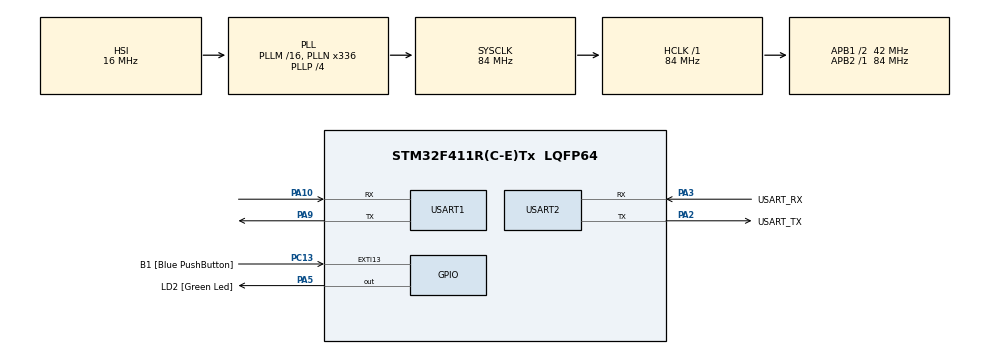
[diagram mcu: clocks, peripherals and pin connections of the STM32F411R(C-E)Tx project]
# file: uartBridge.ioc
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FREERTOS.Queues01=xUart1RecievedQueue,16,uint8_t,0,Dynamic,NULL,NULL;xUart2RecievedQueue,16,uint8_t,0,Dynamic,NULL,NULL
FREERTOS.Tasks01=xUart1Transmit,24,512,xUart1TransmitTask,Default,NULL,Dynamic,NULL,NULL;xUart2Transmit,8,512,xUart2TransmitTask,Default,NULL,Dynamic,NULL,NULL
FREERTOS.configMINIMAL_STACK_SIZE=512
FREERTOS.configUSE_NEWLIB_REENTRANT=1
Mcu.Family=STM32F4
Mcu.Name=STM32F411R(C-E)Tx
Mcu.Package=LQFP64
NVIC.PriorityGroup=NVIC_PRIORITYGROUP_4
NVIC.TIM4_IRQn=true\:15\:0\:false\:false\:true\:false\:false\:true\:true
NVIC.TimeBase=TIM4_IRQn
NVIC.TimeBaseIP=TIM4
NVIC.USART1_IRQn=true\:5\:0\:false\:false\:true\:true\:true\:true\:true
NVIC.USART2_IRQn=true\:5\:0\:false\:false\:true\:true\:true\:true\:true
PA10.Mode=Asynchronous
PA10.Signal=USART1_RX
PA13.GPIO_Label=TMS
PA13.Mode=Serial_Wire
PA13.Signal=SYS_JTMS-SWDIO
PA14.GPIO_Label=TCK
PA14.Mode=Serial_Wire
PA14.Signal=SYS_JTCK-SWCLK
PA2.GPIO_Label=USART_TX
PA2.Mode=Asynchronous
PA2.Signal=USART2_TX
PA3.GPIO_Label=USART_RX
PA3.Mode=Asynchronous
PA3.Signal=USART2_RX
PA5.GPIO_Label=LD2 [Green Led]
PA5.Signal=GPIO_Output
PA9.Mode=Asynchronous
PA9.Signal=USART1_TX
PB3.GPIO_Label=SWO
PB3.Signal=SYS_JTDO-SWO
PC13-ANTI_TAMP.GPIO_Label=B1 [Blue PushButton]
PC13-ANTI_TAMP.GPIO_ModeDefaultEXTI=GPIO_MODE_IT_FALLING
PC13-ANTI_TAMP.Signal=GPXTI13
PC14-OSC32_IN.Mode=LSE-External-Oscillator
PC14-OSC32_IN.Signal=RCC_OSC32_IN
PC15-OSC32_OUT.Mode=LSE-External-Oscillator
PC15-OSC32_OUT.Signal=RCC_OSC32_OUT
PH0\ -\ OSC_IN.Mode=HSE-External-Clock-Source
PH0\ -\ OSC_IN.Signal=RCC_OSC_IN
PH1\ -\ OSC_OUT.Mode=HSE-External-Clock-Source
PH1\ -\ OSC_OUT.Signal=RCC_OSC_OUT
ProjectManager.HeapSize=0x200
ProjectManager.StackSize=0x400
ProjectManager.TargetToolchain=STM32CubeIDE
RCC.48MHZClocksFreq_Value=84000000
RCC.AHBFreq_Value=84000000
RCC.APB1CLKDivider=RCC_HCLK_DIV2
RCC.APB1Freq_Value=42000000
RCC.APB1TimFreq_Value=84000000
RCC.APB2Freq_Value=84000000
RCC.APB2TimFreq_Value=84000000
RCC.CortexFreq_Value=84000000
RCC.FLatency-AdvancedSettings=FLASH_LATENCY_2
RCC.HCLKFreq_Value=84000000
RCC.HSE_VALUE=8000000
RCC.HSI_VALUE=16000000
RCC.PLLN=336
RCC.PLLP=RCC_PLLP_DIV4
RCC.SYSCLKFreq_VALUE=84000000
RCC.SYSCLKSource=RCC_SYSCLKSOURCE_PLLCLK
RCC.VCOOutputFreq_Value=336000000
USART1.VirtualMode=VM_ASYNC
USART2.VirtualMode=VM_ASYNC
VP_FREERTOS_VS_CMSIS_V2.Mode=CMSIS_V2
VP_SYS_VS_tim4.Mode=TIM4
board=NUCLEO-F411RE

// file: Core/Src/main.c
/* USER CODE BEGIN Header */
/**
  ******************************************************************************
  * @file           : main.c
  * @brief          : Main program body
  ******************************************************************************
  * @attention
  *
  * Copyright (c) 2023 STMicroelectronics.
  * All rights reserved.
  *
  * This software is licensed under terms that can be found in the LICENSE file
  * in the root directory of this software component.
  * If no LICENSE file comes with this software, it is provided AS-IS.
  *
  ******************************************************************************
  */
/* USER CODE END Header */
#include "main.h"
#include "cmsis_os.h"
#include "usart.h"
#include "gpio.h"

void SystemClock_Config(void);
void MX_FREERTOS_Init(void);

int main(void)
{

  /* MCU Configuration--------------------------------------------------------*/

  /* Reset of all peripherals, Initializes the Flash interface and the Systick. */
  HAL_Init();

  /* Configure the system clock */
  SystemClock_Config();

  /* Initialize all configured peripherals */
  MX_GPIO_Init();
  MX_USART1_UART_Init();
  MX_USART2_UART_Init();

  /* Init scheduler */
  osKernelInitialize();  /* Call init function for freertos objects (in freertos.c) */
  MX_FREERTOS_Init();

  /* Start scheduler */
  osKernelStart();
  /* We should never get here as control is now taken by the scheduler */
  /* Infinite loop */
  while (1)
  {

  }
}

void SystemClock_Config(void)
{
  RCC_OscInitTypeDef RCC_OscInitStruct = {0};
  RCC_ClkInitTypeDef RCC_ClkInitStruct = {0};

  /** Configure the main internal regulator output voltage
  */
  __HAL_RCC_PWR_CLK_ENABLE();
  __HAL_PWR_VOLTAGESCALING_CONFIG(PWR_REGULATOR_VOLTAGE_SCALE1);

  /** Initializes the RCC Oscillators according to the specified parameters
  * in the RCC_OscInitTypeDef structure.
  */
  RCC_OscInitStruct.OscillatorType = RCC_OSCILLATORTYPE_HSI;
  RCC_OscInitStruct.HSIState = RCC_HSI_ON;
  RCC_OscInitStruct.HSICalibrationValue = RCC_HSICALIBRATION_DEFAULT;
  RCC_OscInitStruct.PLL.PLLState = RCC_PLL_ON;
  RCC_OscInitStruct.PLL.PLLSource = RCC_PLLSOURCE_HSI;
  RCC_OscInitStruct.PLL.PLLM = 16;
  RCC_OscInitStruct.PLL.PLLN = 336;
  RCC_OscInitStruct.PLL.PLLP = RCC_PLLP_DIV4;
  RCC_OscInitStruct.PLL.PLLQ = 4;
  if (HAL_RCC_OscConfig(&RCC_OscInitStruct) != HAL_OK)
  {
    Error_Handler();
  }

  /** Initializes the CPU, AHB and APB buses clocks
  */
  RCC_ClkInitStruct.ClockType = RCC_CLOCKTYPE_HCLK|RCC_CLOCKTYPE_SYSCLK
                              |RCC_CLOCKTYPE_PCLK1|RCC_CLOCKTYPE_PCLK2;
  RCC_ClkInitStruct.SYSCLKSource = RCC_SYSCLKSOURCE_PLLCLK;
  RCC_ClkInitStruct.AHBCLKDivider = RCC_SYSCLK_DIV1;
  RCC_ClkInitStruct.APB1CLKDivider = RCC_HCLK_DIV2;
  RCC_ClkInitStruct.APB2CLKDivider = RCC_HCLK_DIV1;

  if (HAL_RCC_ClockConfig(&RCC_ClkInitStruct, FLASH_LATENCY_2) != HAL_OK)
  {
    Error_Handler();
  }
}

void HAL_TIM_PeriodElapsedCallback(TIM_HandleTypeDef *htim)
{
  if (htim->Instance == TIM4) {
    HAL_IncTick();
  }
}

void Error_Handler(void)
{
  __disable_irq();
  while (1)
  {
  }
}

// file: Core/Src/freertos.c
/* USER CODE BEGIN Header */
/**
  ******************************************************************************
  * File Name          : freertos.c
  * Description        : Code for freertos applications
  ******************************************************************************
  * @attention
  *
  * Copyright (c) 2023 STMicroelectronics.
  * All rights reserved.
  *
  * This software is licensed under terms that can be found in the LICENSE file
  * in the root directory of this software component.
  * If no LICENSE file comes with this software, it is provided AS-IS.
  *
  ******************************************************************************
  */
/* USER CODE END Header */

#include "FreeRTOS.h"
#include "task.h"
#include "main.h"
#include "cmsis_os.h"

/* USER CODE BEGIN Includes */
#include "freertosUtils.h"
#include "usart.h"
/* USER CODE END Includes */

/* Definitions for xUart1Transmit */
osThreadId_t xUart1TransmitHandle;
const osThreadAttr_t xUart1Transmit_attributes = {
  .name = "xUart1Transmit",
  .stack_size = 512 * 4,
  .priority = (osPriority_t) osPriorityNormal,
};
/* Definitions for xUart2Transmit */
osThreadId_t xUart2TransmitHandle;
const osThreadAttr_t xUart2Transmit_attributes = {
  .name = "xUart2Transmit",
  .stack_size = 512 * 4,
  .priority = (osPriority_t) osPriorityLow,
};
/* Definitions for xUart1RecievedQueue */
osMessageQueueId_t xUart1RecievedQueueHandle;
const osMessageQueueAttr_t xUart1RecievedQueue_attributes = {
  .name = "xUart1RecievedQueue"
};
/* Definitions for xUart2RecievedQueue */
osMessageQueueId_t xUart2RecievedQueueHandle;
const osMessageQueueAttr_t xUart2RecievedQueue_attributes = {
  .name = "xUart2RecievedQueue"
};

void xUart1TransmitTask(void *argument);
void xUart2TransmitTask(void *argument);

void MX_FREERTOS_Init(void); /* (MISRA C 2004 rule 8.1) */

void MX_FREERTOS_Init(void) {

  /* Create the queue(s) */
  /* creation of xUart1RecievedQueue */
  xUart1RecievedQueueHandle = osMessageQueueNew (16, sizeof(uint8_t), &xUart1RecievedQueue_attributes);

  /* creation of xUart2RecievedQueue */
  xUart2RecievedQueueHandle = osMessageQueueNew (16, sizeof(uint8_t), &xUart2RecievedQueue_attributes);

  /* Create the thread(s) */
  /* creation of xUart1Transmit */
  xUart1TransmitHandle = osThreadNew(xUart1TransmitTask, NULL, &xUart1Transmit_attributes);

  /* creation of xUart2Transmit */
  xUart2TransmitHandle = osThreadNew(xUart2TransmitTask, NULL, &xUart2Transmit_attributes);

}

/* USER CODE BEGIN Header_xUart1TransmitTask */
/**
  * @brief  Function implementing the xUart1Transmit thread.
  * wait byte from queue and send it to UART
  * @param  argument: Not used
  * @retval None
  */
/* USER CODE END Header_xUart1TransmitTask */
void xUart1TransmitTask(void *argument)
{
  /* USER CODE BEGIN xUart1TransmitTask */
  /* Infinite loop */
  osStatus_t operationStatus = osOK;
  uint8_t recievedByte = 0;
  for(;;)
  {
	  operationStatus = osMessageQueueGet(xUart2RecievedQueueHandle, &recievedByte, NULL, osWaitForever);   // wait for message
	  if (operationStatus == osOK)
	  {
		  HAL_UART_Transmit_IT (getHuart1Handler(), &recievedByte, 1); //Cause we read per byte
	  }
  }
  /* USER CODE END xUart1TransmitTask */
}

void xUart2TransmitTask(void *argument)
{
  /* USER CODE BEGIN xUart2TransmitTask */
  /* Infinite loop */
  osStatus_t operationStatus = osOK;
  uint8_t recievedByte = 0;
  for(;;)
  {
	  operationStatus = osMessageQueueGet(xUart1RecievedQueueHandle, &recievedByte, NULL, osWaitForever);   // wait for message
	  if (operationStatus == osOK)
	  {
		  HAL_UART_Transmit_IT (getHuart2Handler(), &recievedByte, 1); //Cause we read per byte
	  }
  }
  /* USER CODE END xUart2TransmitTask */
}

/* USER CODE BEGIN Application */
/**
  * @brief  getter for huart1 queue handler.
  * @param  argument: Not used
  * @retval uart1Recieve queue handler
  */
osMessageQueueId_t getUart1RecievedQueueHandle()
{
	return xUart1RecievedQueueHandle;
}

/**
  * @brief  getter for huart2 queue handler.
  * @param  argument: Not used
  * @retval uart2Recieve queue handler
  */
osMessageQueueId_t getUart2RecievedQueueHandle()
{
	return xUart2RecievedQueueHandle;
}
/* USER CODE END Application */
